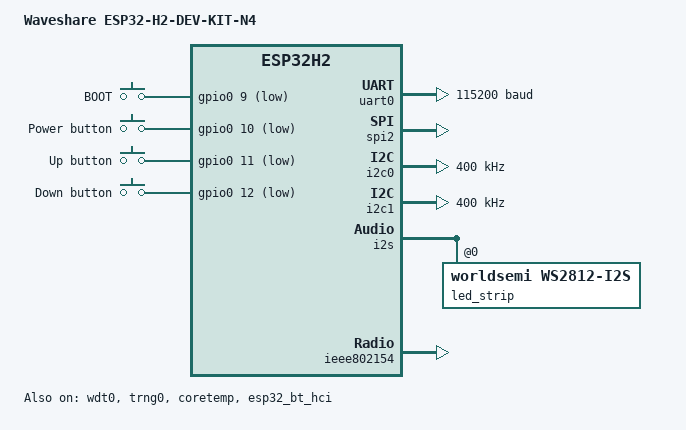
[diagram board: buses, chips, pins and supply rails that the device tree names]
/*
 * Waveshare ESP32-H2-DEV-KIT-N4: an ESP32-H2-MINI-1-N4 module with an onboard
 * WS2812 RGB LED on GPIO8 and a BOOT key on GPIO9.
 *
 * Copied from Zephyr's esp32h2_devkitm.dts (v4.4.0), which describes the same
 * module and pins. What was in SPLed's esp32h2_devkitm.overlay is now here:
 * the WS2812 driven over I2S with DMA (there is no RMT-based WS2812 driver in
 * the tree), and SPLed's three buttons wired to free header pins, since the
 * board has one usable key and SPLed needs three.
 */

/dts-v1/;

#include <espressif/esp32h2/esp32h2_mini_h4.dtsi>
#include "esp32h2_dev_kit_n4-pinctrl.dtsi"
#include <zephyr/dt-bindings/input/input-event-codes.h>
#include <zephyr/dt-bindings/led/led.h>
#include <espressif/partitions_0x0_default.dtsi>

/ {
	model = "Waveshare ESP32-H2-DEV-KIT-N4";
	compatible = "waveshare,esp32h2-dev-kit-n4";

	chosen {
		zephyr,sram = &sramhp;
		zephyr,console = &uart0;
		zephyr,shell-uart = &uart0;
		zephyr,flash = &flash0;
		zephyr,code-partition = &slot0_partition;
		zephyr,ieee802154 = &ieee802154;
	};

	aliases {
		sw0 = &power_button;
		sw1 = &up_button;
		sw2 = &down_button;
		led-strip = &led_strip;
		watchdog0 = &wdt0;
	};

	gpio_keys {
		compatible = "gpio-keys";

		boot_button: button_boot {
			label = "BOOT";
			gpios = <&gpio0 9 (GPIO_PULL_UP | GPIO_ACTIVE_LOW)>;
			zephyr,code = <INPUT_KEY_0>;
		};

		/* SPLed demo wiring: buttons between these header pins and GND. */
		power_button: button_power {
			label = "Power button";
			gpios = <&gpio0 10 (GPIO_ACTIVE_LOW | GPIO_PULL_UP)>;
		};

		up_button: button_up {
			label = "Up button";
			gpios = <&gpio0 11 (GPIO_ACTIVE_LOW | GPIO_PULL_UP)>;
		};

		down_button: button_down {
			label = "Down button";
			gpios = <&gpio0 12 (GPIO_ACTIVE_LOW | GPIO_PULL_UP)>;
		};
	};
};

&uart0 {
	status = "okay";
	current-speed = <115200>;
	pinctrl-0 = <&uart0_default>;
	pinctrl-names = "default";
};

&gpio0 {
	status = "okay";
};

&wdt0 {
	status = "okay";
};

&trng0 {
	status = "okay";
};

&coretemp {
	status = "okay";
};

&spi2 {
	#address-cells = <1>;
	#size-cells = <0>;
	status = "okay";
	pinctrl-0 = <&spim2_default>;
	pinctrl-names = "default";
};

&i2c0 {
	clock-frequency = <I2C_BITRATE_FAST>;
	pinctrl-0 = <&i2c0_default>;
	pinctrl-names = "default";
};

&i2c1 {
	clock-frequency = <I2C_BITRATE_FAST>;
	pinctrl-0 = <&i2c1_default>;
	pinctrl-names = "default";
};

&i2s {
	status = "okay";
	pinctrl-0 = <&i2s_default>;
	pinctrl-names = "default";

	dmas = <&dma 3>;
	dma-names = "tx";

	led_strip: ws2812@0 {
		compatible = "worldsemi,ws2812-i2s";

		reg = <0>;
		chain-length = <1>;
		color-mapping = <LED_COLOR_ID_GREEN
				 LED_COLOR_ID_RED
				 LED_COLOR_ID_BLUE>;
		reset-delay = <500>;
	};
};

&dma {
	status = "okay";
};

&twai {
	pinctrl-0 = <&twai_default>;
	pinctrl-names = "default";
};

&ieee802154 {
	status = "okay";
};

&esp32_bt_hci {
	status = "okay";
};
